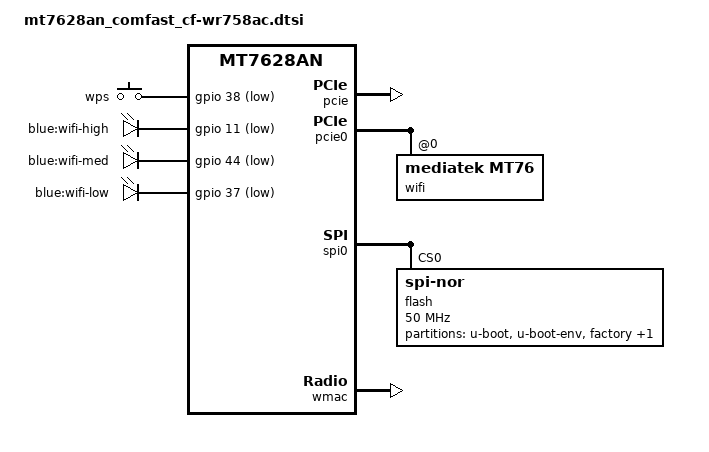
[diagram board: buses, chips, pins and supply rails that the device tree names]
// SPDX-License-Identifier: GPL-2.0-or-later OR MIT

#include "mt7628an.dtsi"

#include <dt-bindings/input/input.h>
#include <dt-bindings/gpio/gpio.h>

/ {
	compatible = "comfast,cf-wr758ac", "mediatek,mt7628an-soc";

	keys {
		compatible = "gpio-keys";

		wps {
			label = "wps";
			gpios = <&gpio 38 GPIO_ACTIVE_LOW>;
			linux,code = <KEY_WPS_BUTTON>;
		};
	};

	leds {
		compatible = "gpio-leds";

		wifi-high {
			label = "blue:wifi-high";
			gpios = <&gpio 11 GPIO_ACTIVE_LOW>;
		};

		wifi-med {
			label = "blue:wifi-med";
			gpios = <&gpio 44 GPIO_ACTIVE_LOW>;
		};

		wifi-low {
			label = "blue:wifi-low";
			gpios = <&gpio 37 GPIO_ACTIVE_LOW>;
		};
	};
};

&state_default {
	gpio {
		groups = "refclk", "wdt", "wled_an";
		function = "gpio";
	};
};

&pcie {
	status = "okay";
};

&pcie0 {
	wifi@0,0 {
		compatible = "mediatek,mt76";
		reg = <0x0000 0 0 0 0>;
		mediatek,mtd-eeprom = <&factory 0x8000>;
		ieee80211-freq-limit = <5000000 6000000>;
	};
};

&spi0 {
	status = "okay";

	flash@0 {
		compatible = "jedec,spi-nor";
		reg = <0>;
		spi-max-frequency = <50000000>;

		partitions {
			compatible = "fixed-partitions";
			#address-cells = <1>;
			#size-cells = <1>;

			partition@0 {
				label = "u-boot";
				reg = <0x0 0x30000>;
				read-only;
			};

			partition@30000 {
				label = "u-boot-env";
				reg = <0x30000 0x10000>;
				read-only;
			};

			factory: partition@40000 {
				label = "factory";
				reg = <0x40000 0x10000>;
				read-only;
			};

			partition@50000 {
				compatible = "denx,uimage";
				label = "firmware";
				reg = <0x50000 0x7b0000>;
			};
		};
	};
};

&wmac {
	status = "okay";

	mediatek,mtd-eeprom = <&factory 0x0>;
};

&ethernet {
	nvmem-cells = <&macaddr_factory_e000>;
	nvmem-cell-names = "mac-address";
};

&esw {
	mediatek,portdisable = <0x2f>;
};

&factory {
	compatible = "nvmem-cells";
	#address-cells = <1>;
	#size-cells = <1>;

	macaddr_factory_e000: macaddr@e000 {
		reg = <0xe000 0x6>;
	};
};
